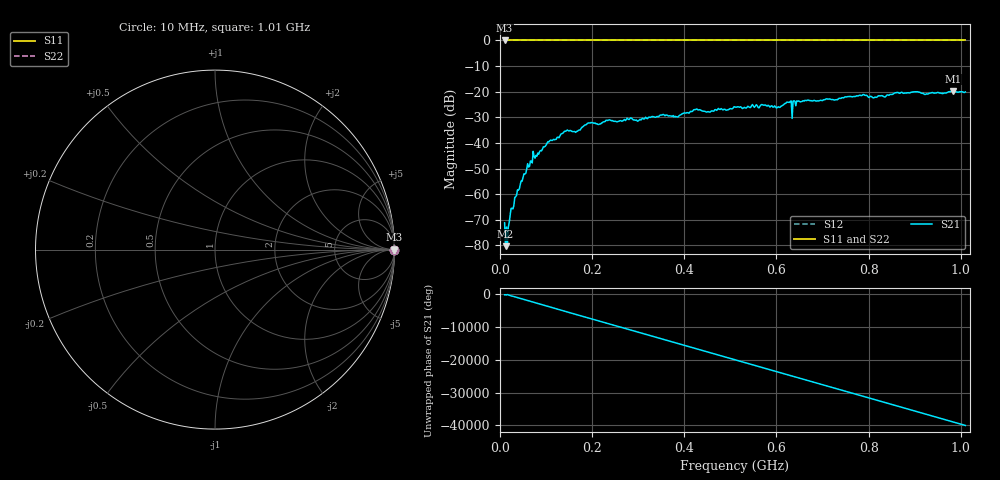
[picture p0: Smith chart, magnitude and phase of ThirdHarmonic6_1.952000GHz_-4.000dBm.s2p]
! 8/16/2025 11:30:01 PM
! C:\ANRITSUVNA\TEMP\TEMP.S2P
! CHANNEL.1
! TR.MEASUREMENT
! RAW.DATA
! RF.CORRECTION.OFF
! AVERAGING.OFF
! IF.BANDWIDTH: 5KHZ
! SWEEPTYPE:  FREQ.SWEEP(Linear)
! Reference Plane Port Info
! PORT:  PORT1  PORT2
! DISTANCE:  0  m  0  m
! TIME:  0  s  0  s
! PHASE.OFFSET:  0  deg.  0  deg.
! LOSS:  0  dB  0  dB
! REF.LOSS:  0  dB  0  dB
! REF.FREQ:  0  Hz  0  Hz
! Power Info
! POWER:  -20  dBm  -20  dBm
! EFF.POWER:  -20  dBm  -20  dBm
! SOURCE.ATTEN:  0  dB  0  dB
! TEST.ATTEN:  0  dB  0  dB
# GHZ S RI R 50.0
! FREQ.GHZ  S11RE  S11IM  S21RE  S21IM  S12RE  S12IM  S22RE  S22IM
!; PortSelection: Port_12
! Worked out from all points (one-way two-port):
!   501 points, 10 MHz to 1.01 GHz, reference 50 ohm
!   highest |S21| = -19.73 dB at 984 MHz (marker M1); lowest = -80.3 dB at 12 MHz (marker M2)
!   lowest |S11| = 0.0 dB at 10 MHz (marker M3)
!   |S11| at or under -10 dB: nowhere
!   |S22| runs from 0.0 to 0.0 dB; largest |S21 - S12| = 1.1
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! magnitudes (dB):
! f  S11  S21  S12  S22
! 10 MHz  0.0  -71.2  0.0  0.0
! 12 MHz  0.0  -80.3  0.0  0.0
! 16 MHz  0.0  -79.4  0.0  0.0
! 22 MHz  0.0  -68.3  0.0  0.0
! 36 MHz  0.0  -60.4  0.0  0.0
! 70 MHz  0.0  -47.8  0.0  0.0
! 106 MHz  0.0  -39.6  0.0  0.0
! 142 MHz  0.0  -35.4  0.0  0.0
! 178 MHz  0.0  -33.9  0.0  0.0
! 194 MHz  0.0  -32.2  0.0  0.0
! 344 MHz  0.0  -29.7  0.0  0.0
! 382 MHz  0.0  -29.8  0.0  0.0
! 424 MHz  0.0  -27.0  0.0  0.0
! 510 MHz  0.0  -26.0  0.0  0.0
! 604 MHz  0.0  -25.9  0.0  0.0
! 628 MHz  0.0  -24.2  0.0  0.0
! 638 MHz  0.0  -23.6  0.0  0.0
! 640 MHz  0.0  -23.7  0.0  0.0
! 678 MHz  0.0  -23.6  0.0  0.0
! 844 MHz  0.0  -21.4  0.0  0.0
! 984 MHz  0.0  -19.7  0.0  0.0
! 1.01 GHz  0.0  -20.1  0.0  0.0
